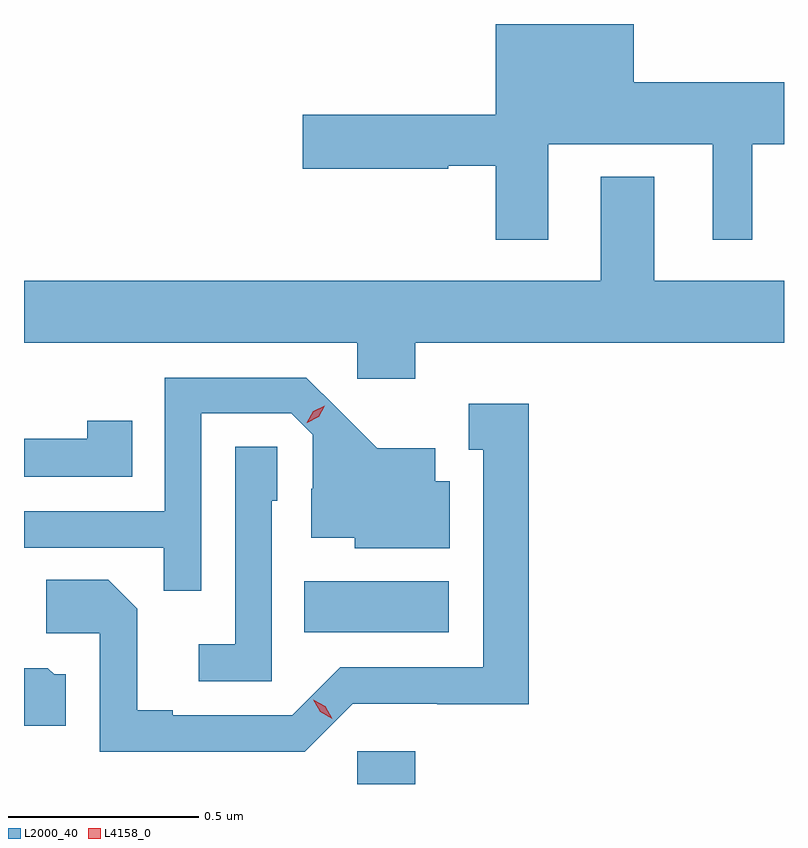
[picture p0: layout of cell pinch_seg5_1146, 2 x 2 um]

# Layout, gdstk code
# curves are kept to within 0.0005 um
import gdstk
lib = gdstk.Library(unit=1e-6, precision=1e-09)
def R(c, l, rs):  # rectangles x0, y0, x1, y1
    for r in rs: c.add(gdstk.rectangle(r[:2], r[2:], *l))
def P(c, l, *ps):  # polygons
    for p in ps: c.add(gdstk.Polygon(p, *l))
L2000_40 = (2000, 40)
L4158_0 = (4158, 0)

pinch_seg5_1146 = lib.new_cell('pinch_seg5_1146')
R(pinch_seg5_1146, L2000_40, [(796.848,848.939,797,849.025), (796.708,849.338,797.089,849.472)])
P(pinch_seg5_1146, L2000_40, [(797.35,850.622),(797.783,850.622),(797.783,850.371),(797.887,850.371),(797.887,850.622),(797.971,850.622),(797.971,850.786),(797.575,850.786),(797.575,850.939),(797.213,850.939),(797.213,850.7),(796.704,850.7),(796.704,850.558),(797.088,850.558),(797.088,850.566),(797.213,850.566),(797.213,850.371),(797.35,850.371)],
  [(797,850.1),(797.971,850.1),(797.971,850.264),(797.629,850.264),(797.629,850.537),(797.489,850.537),(797.489,850.264),(795.971,850.264),(795.971,850.1),(796.848,850.1),(796.848,850.005),(797,850.005)],
  [(796.437,849.915),(796.674,849.915),(796.731,849.858),(796.731,849.716),(796.727,849.716),(796.727,849.587),(796.842,849.587),(796.842,849.56),(797.092,849.56),(797.092,849.736),(797.053,849.736),(797.053,849.823),(796.901,849.823),(796.714,850.008),(796.341,850.008),(796.341,849.657),(795.971,849.657),(795.971,849.561),(796.339,849.561),(796.339,849.448),(796.437,849.448)],
  [(796.836,849.15),(797.058,849.15),(797.058,849.149),(797.299,849.149),(797.299,849.94),(797.141,849.94),(797.141,849.819),(797.18,849.819),(797.18,849.246),(796.803,849.246),(796.677,849.12),(796.363,849.12),(796.363,849.133),(796.269,849.133),(796.269,849.4),(796.193,849.476),(796.029,849.476),(796.029,849.336),(796.17,849.336),(796.17,849.024),(796.71,849.024)],
  [(796.256,849.895),(796.138,849.895),(796.138,849.848),(795.971,849.848),(795.971,849.747),(796.256,849.747)],
  [(796.623,849.684),(796.638,849.684),(796.638,849.827),(796.527,849.827),(796.527,849.307),(796.431,849.307),(796.431,849.21),(796.623,849.21)],
  [(796.081,849.228),(796.05,849.228),(796.034,849.244),(795.971,849.244),(795.971,849.092),(796.081,849.092)])
P(pinch_seg5_1146, L4158_0, [(796.782,849.111),(796.75,849.129),(796.732,849.161),(796.732,849.161),(796.732,849.161),(796.764,849.143),(796.782,849.111),(796.782,849.111)],
  [(796.715,849.89),(796.715,849.89),(796.732,849.92),(796.763,849.935),(796.763,849.935),(796.763,849.935),(796.746,849.906),(796.716,849.89)])

lib.write_gds('pinch_seg5_1146.gds')
